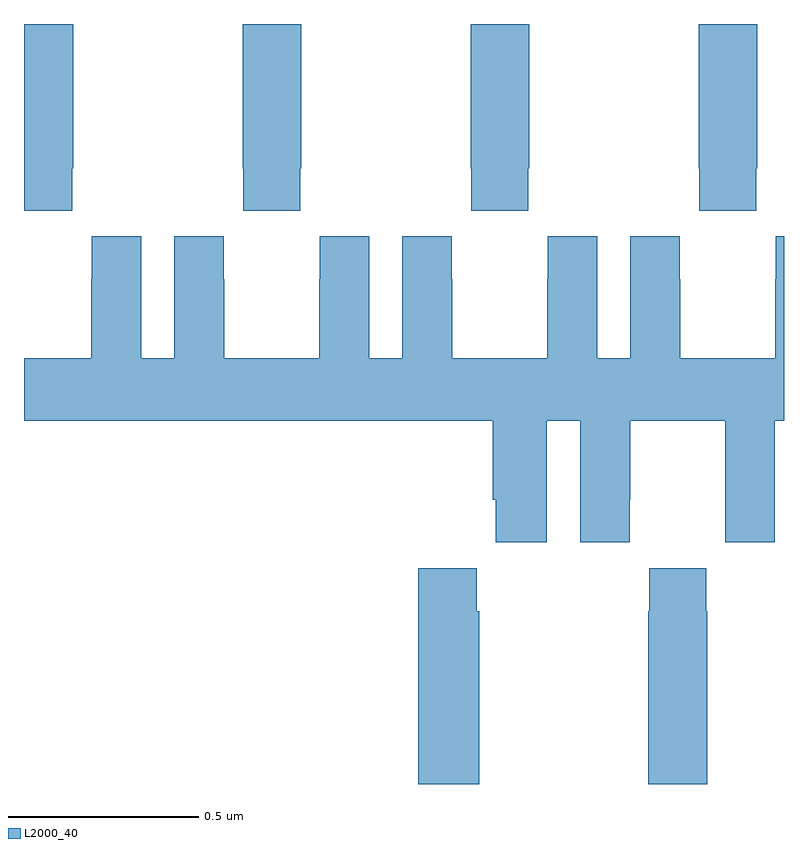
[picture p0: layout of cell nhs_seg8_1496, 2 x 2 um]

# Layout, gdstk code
import gdstk
lib = gdstk.Library(unit=1e-6, precision=1e-09)
def P(c, l, *ps):  # polygons
    for p in ps: c.add(gdstk.Polygon(p, *l))
L2000_40 = (2000, 40)

nhs_seg8_1496 = lib.new_cell('nhs_seg8_1496')
P(nhs_seg8_1496, L2000_40, [(131.127,1094.521),(131.13,1094.521),(131.13,1094.9),(131,1094.9),(131,1094.409),(131.127,1094.409)],
  [(131.727,1094.521),(131.73,1094.521),(131.73,1094.9),(131.575,1094.9),(131.575,1094.521),(131.577,1094.521),(131.577,1094.409),(131.727,1094.409)],
  [(132.327,1094.521),(132.33,1094.521),(132.33,1094.9),(132.175,1094.9),(132.175,1094.521),(132.177,1094.521),(132.177,1094.409),(132.327,1094.409)],
  [(132.927,1094.521),(132.93,1094.521),(132.93,1094.9),(132.775,1094.9),(132.775,1094.521),(132.777,1094.521),(132.777,1094.409),(132.927,1094.409)],
  [(132.233,1093.648),(132.242,1093.648),(132.242,1093.536),(132.376,1093.536),(132.376,1093.856),(132.464,1093.856),(132.464,1093.536),(132.594,1093.536),(132.594,1093.648),(132.595,1093.648),(132.595,1093.856),(132.845,1093.856),(132.845,1093.648),(132.846,1093.648),(132.846,1093.536),(132.976,1093.536),(132.976,1093.856),(133,1093.856),(133,1094.341),(132.978,1094.341),(132.978,1094.228),(132.977,1094.228),(132.977,1094.02),(132.727,1094.02),(132.727,1094.228),(132.726,1094.228),(132.726,1094.341),(132.596,1094.341),(132.596,1094.02),(132.508,1094.02),(132.508,1094.341),(132.378,1094.341),(132.378,1094.228),(132.377,1094.228),(132.377,1094.02),(132.127,1094.02),(132.127,1094.228),(132.126,1094.228),(132.126,1094.341),(131.996,1094.341),(131.996,1094.02),(131.908,1094.02),(131.908,1094.341),(131.778,1094.341),(131.778,1094.228),(131.777,1094.228),(131.777,1094.02),(131.527,1094.02),(131.527,1094.228),(131.526,1094.228),(131.526,1094.341),(131.396,1094.341),(131.396,1094.02),(131.308,1094.02),(131.308,1094.341),(131.178,1094.341),(131.178,1094.228),(131.177,1094.228),(131.177,1094.02),(131,1094.02),(131,1093.856),(132.233,1093.856)],
  [(132.798,1093.355),(132.795,1093.355),(132.795,1093.468),(132.645,1093.468),(132.645,1093.355),(132.643,1093.355),(132.643,1092.9),(132.798,1092.9)],
  [(132.198,1093.355),(132.191,1093.355),(132.191,1093.468),(132.038,1093.468),(132.038,1092.9),(132.198,1092.9)])

lib.write_gds('nhs_seg8_1496.gds')
